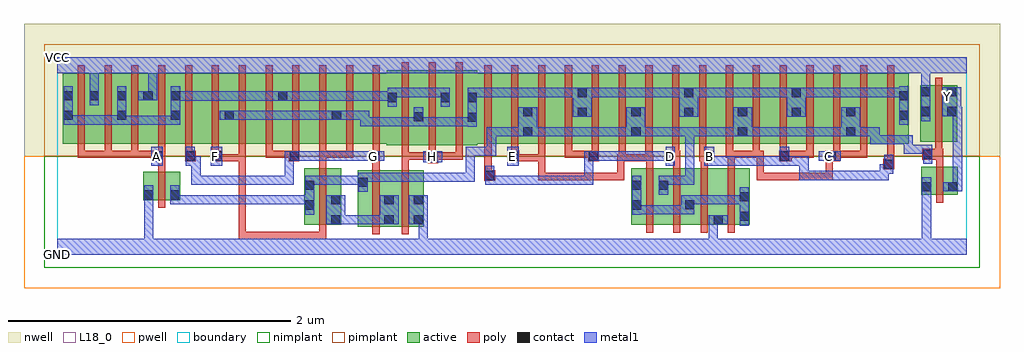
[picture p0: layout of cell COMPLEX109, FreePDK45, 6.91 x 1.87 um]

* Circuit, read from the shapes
.subckt COMPLEX109 A B C D E F G GND H VCC Y
M1 n1 A GND VSUBS nfet w=0.2u l=0.05u
M2 n2 F n1 VSUBS nfet w=0.4u l=0.05u
M3 n2 G n1 VSUBS nfet w=0.4u l=0.05u
M4 GND H n2 VSUBS nfet w=0.4u l=0.05u
M5 n1 E n3 VSUBS nfet w=0.4u l=0.05u
M6 n3 D n1 VSUBS nfet w=0.4u l=0.05u
M7 GND B n3 VSUBS nfet w=0.4u l=0.05u
M8 n3 C GND VSUBS nfet w=0.4u l=0.05u
M9 Y n1 GND VSUBS nfet w=0.2u l=0.05u
M10 VCC A n4 n5 pfet w=0.5u l=0.05u m=4
M11 n6 G n4 n5 pfet w=0.5u l=0.05u
M12 n7 F n6 n5 pfet w=0.5u l=0.05u
M13 n8 F n7 n5 pfet w=0.5u l=0.05u
M14 n4 G n8 n5 pfet w=0.5u l=0.05u
M15 n9 G n4 n5 pfet w=0.5u l=0.05u
M16 n7 F n9 n5 pfet w=0.5u l=0.05u
M17 n10 F n7 n5 pfet w=0.5u l=0.05u
M18 n4 G n10 n5 pfet w=0.5u l=0.05u
M19 n7 H n4 n5 pfet w=0.532u l=0.05u m=3
M20 n11 D n7 n5 pfet w=0.5u l=0.05u
M21 n1 E n11 n5 pfet w=0.5u l=0.05u
M22 n12 E n1 n5 pfet w=0.5u l=0.05u
M23 n7 D n12 n5 pfet w=0.5u l=0.05u
M24 n13 D n7 n5 pfet w=0.5u l=0.05u
M25 n1 E n13 n5 pfet w=0.5u l=0.05u
M26 n14 E n1 n5 pfet w=0.5u l=0.05u
M27 n7 D n14 n5 pfet w=0.5u l=0.05u
M28 n15 B n7 n5 pfet w=0.5u l=0.05u
M29 n1 C n15 n5 pfet w=0.5u l=0.05u
M30 n16 C n1 n5 pfet w=0.5u l=0.05u
M31 n7 B n16 n5 pfet w=0.5u l=0.05u
M32 n17 B n7 n5 pfet w=0.5u l=0.05u
M33 n1 C n17 n5 pfet w=0.5u l=0.05u
M34 n18 C n1 n5 pfet w=0.5u l=0.05u
M35 n7 B n18 n5 pfet w=0.5u l=0.05u
M36 Y n1 VCC n5 pfet w=0.4u l=0.05u
.ends

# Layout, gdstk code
import gdstk
lib = gdstk.Library(unit=1e-6, precision=1e-09)
def R(c, l, rs):  # rectangles x0, y0, x1, y1
    for r in rs: c.add(gdstk.rectangle(r[:2], r[2:], *l))
def A(c, l, x, y, w, h, nx, ny, dx, dy):  # array of equal rectangles
    R(c, l, [(x+i*dx, y+j*dy, x+i*dx+w, y+j*dy+h) for i in range(nx) for j in range(ny)])
active = (1, 0)
pwell = (2, 0)
nwell = (3, 0)
nimplant = (4, 0)
pimplant = (5, 0)
poly = (9, 0)
contact = (10, 0)
metal1 = (11, 0)
L18_0 = (18, 0)
boundary = (235, 0)

complex109 = lib.new_cell('COMPLEX109')
A(complex109, active, 0.8, 0.787, 0.225, 0.5, 4, 1, 0.38, 0)
A(complex109, active, 1.025, 0.787, 0.23, 0.5, 3, 1, 0.38, 0)
A(complex109, active, 4.285, 0.787, 0.225, 0.5, 3, 1, 0.38, 0)
A(complex109, active, 4.435, 0.787, 0.23, 0.5, 3, 1, 0.38, 0)
R(complex109, active, [(2.127,0.2,2.387,0.6), (2.312,0.2,2.595,0.6), (2.312,0.2,2.387,0.492), (1.75,0.212,1.825,0.612), (1.75,0.212,2.01,0.612), (1.935,0.212,2.01,0.612), (2.52,0.212,2.595,0.492), (4.065,0.212,4.33,0.612), (4.255,0.212,4.515,0.612), (4.44,0.212,4.515,0.492), (4.44,0.212,4.717,0.612), (4.642,0.212,4.902,0.612), (4.642,0.212,4.717,0.492), (4.827,0.212,4.902,0.612), (4.065,0.232,4.14,0.612), (2.127,0.245,2.202,0.6), (4.255,0.245,4.33,0.53), (0.61,0.387,0.87,0.587), (0.61,0.387,0.685,0.587), (0.795,0.387,0.87,0.587), (6.117,0.425,6.377,0.625), (6.117,0.445,6.192,0.625), (6.302,0.445,6.377,0.625), (2.335,0.775,2.595,1.307), (2.52,0.775,2.785,1.307), (2.52,0.775,2.595,1.07), (2.71,0.775,2.975,1.307), (2.71,0.775,2.785,1.2), (0.04,0.787,0.115,1.2), (0.04,0.787,0.3,1.287), (0.225,0.787,0.495,1.287), (0.42,0.787,0.68,1.287), (0.605,0.787,0.875,1.287), (2.165,0.787,2.41,1.287), (2.9,0.787,2.975,1.2), (2.9,0.787,3.145,1.287), (3.145,0.787,3.37,1.287), (3.295,0.787,3.37,1.07), (3.295,0.787,3.525,1.287), (3.525,0.787,3.755,1.287), (3.68,0.787,3.755,1.2), (3.68,0.787,3.905,1.287), (3.905,0.787,4.135,1.287), (4.06,0.787,4.285,1.287), (4.06,0.787,4.135,1.07), (4.815,0.787,4.89,1.07), (5.195,0.787,5.27,1.2), (5.425,0.787,5.655,1.287), (5.58,0.787,5.805,1.287), (5.58,0.787,5.655,1.07), (5.805,0.787,6.03,1.287), (5.955,0.787,6.03,1.2), (6.112,0.8,6.187,1.2), (6.112,0.8,6.372,1.2), (6.297,0.8,6.372,1.2), (2.335,0.802,2.41,1.2), (0.225,0.807,0.3,1.255), (0.42,0.807,0.495,1.2), (0.605,0.807,0.68,1.255), (0.8,0.807,0.875,1.2), (1.18,0.807,1.255,1.07), (1.56,0.807,1.635,1.2), (1.94,0.807,2.015,1.07), (4.435,0.807,4.51,1.2)])
R(complex109, pwell, [(-0.235,-0.235,6.675,0.7)])
R(complex109, nwell, [(-0.235,0.7,6.675,1.635)])
R(complex109, nimplant, [(-0.09,-0.09,6.53,0.7)])
R(complex109, pimplant, [(-0.09,0.7,6.53,1.49)])
A(complex109, poly, 2.44, 0.675, 0.05, 0.095, 3, 1, 0.19, 0)
A(complex109, poly, 0.145, 0.687, 0.05, 0.095, 6, 1, 0.19, 0)
A(complex109, poly, 0.145, 0.687, 0.05, 0.05, 3, 1, 0.19, 0)
A(complex109, poly, 1.475, 0.687, 0.05, 0.095, 5, 1, 0.19, 0)
A(complex109, poly, 4.355, 0.687, 0.05, 0.095, 8, 1, 0.19, 0)
A(complex109, poly, 2.44, 0.72, 0.05, 0.642, 3, 1, 0.19, 0)
A(complex109, poly, 0.145, 0.732, 0.05, 0.61, 12, 1, 0.19, 0)
A(complex109, poly, 3.025, 0.732, 0.05, 0.61, 16, 1, 0.19, 0)
R(complex109, poly, [(1.285,0.112,1.335,0.162), (1.285,0.112,1.467,0.162), (1.285,0.112,1.335,0.712), (1.417,0.112,1.467,0.162), (1.417,0.112,1.467,0.162), (1.417,0.112,1.467,0.162), (1.417,0.112,1.467,0.162), (1.417,0.112,1.467,0.162), (1.417,0.112,1.772,0.162), (1.722,0.112,1.772,0.162), (1.722,0.112,1.772,0.162), (1.722,0.112,1.772,0.162), (1.722,0.112,1.905,0.162), (1.855,0.112,1.905,0.207), (1.855,0.112,1.905,0.162), (1.855,0.112,1.905,0.162), (1.855,0.112,1.905,0.162), (2.232,0.145,2.282,0.655), (2.44,0.145,2.49,0.655), (1.855,0.157,1.905,0.667), (4.17,0.157,4.22,0.667), (4.36,0.157,4.41,0.667), (4.557,0.157,4.607,0.667), (4.747,0.157,4.797,0.667), (0.715,0.332,0.765,0.642), (6.222,0.37,6.272,0.68), (3.025,0.525,3.1,0.6), (3.405,0.53,3.455,0.58), (3.405,0.53,3.455,0.58), (3.405,0.53,3.455,0.58), (3.405,0.53,3.455,0.58), (3.405,0.53,3.455,0.58), (3.405,0.53,3.455,0.712), (3.405,0.53,3.677,0.58), (3.627,0.53,3.677,0.58), (3.627,0.53,3.677,0.58), (3.627,0.53,3.677,0.58), (3.627,0.53,3.882,0.58), (3.832,0.53,3.882,0.58), (3.832,0.53,4.015,0.58), (3.965,0.53,4.015,0.58), (3.965,0.53,4.015,0.58), (3.965,0.53,4.015,0.58), (3.965,0.53,4.015,0.712), (4.952,0.53,5.002,0.58), (4.952,0.53,5.002,0.58), (4.952,0.53,5.002,0.58), (4.952,0.53,5.135,0.58), (4.952,0.53,5.002,0.737), (5.085,0.53,5.135,0.58), (5.085,0.53,5.36,0.58), (5.31,0.53,5.36,0.58), (5.31,0.53,5.36,0.58), (5.31,0.53,5.36,0.58), (5.31,0.53,5.492,0.58), (5.442,0.53,5.492,0.58), (5.442,0.53,5.492,0.58), (5.442,0.53,5.492,0.58), (5.442,0.53,5.492,0.58), (5.442,0.53,5.492,0.58), (5.442,0.53,5.492,0.712), (3.025,0.55,3.075,0.6), (3.025,0.55,3.075,0.6), (3.025,0.55,3.075,0.6), (3.025,0.55,3.075,0.6), (3.025,0.55,3.075,0.782), (0.715,0.592,0.765,0.712), (2.232,0.605,2.282,0.712), (2.44,0.605,2.49,0.725), (5.85,0.605,5.925,0.68), (1.855,0.617,1.905,0.737), (4.17,0.617,4.22,0.712), (4.36,0.617,4.41,0.712), (4.557,0.617,4.607,0.712), (4.747,0.617,4.797,0.737), (5.875,0.63,5.925,0.782), (6.222,0.63,6.272,0.725), (2.622,0.65,2.697,0.725), (0.677,0.662,0.765,0.737), (0.905,0.662,0.98,0.737), (1.095,0.662,1.17,0.737), (1.12,0.662,1.335,0.712), (1.285,0.662,1.335,0.712), (1.285,0.662,1.335,0.712), (1.285,0.662,1.335,0.712), (1.285,0.662,1.335,0.712), (1.285,0.662,1.335,0.712), (1.285,0.662,1.335,0.712), (1.285,0.662,1.335,0.712), (1.285,0.662,1.335,0.712), (1.285,0.662,1.335,0.712), (1.285,0.662,1.335,0.782), (1.64,0.662,1.715,0.737), (2.21,0.662,2.285,0.737), (3.197,0.662,3.272,0.737), (3.222,0.662,3.272,0.712), (3.222,0.662,3.272,0.712), (3.222,0.662,3.455,0.712), (3.405,0.662,3.455,0.712), (3.405,0.662,3.455,0.782), (3.76,0.662,3.835,0.737), (3.965,0.662,4.015,0.712), (3.965,0.662,4.015,0.712), (3.965,0.662,4.025,0.712), (3.975,0.662,4.215,0.712), (3.975,0.662,4.025,0.782), (4.165,0.662,4.215,0.712), (4.165,0.662,4.215,0.712), (4.165,0.662,4.215,0.782), (4.165,0.662,4.22,0.712), (4.302,0.662,4.41,0.737), (4.545,0.662,4.652,0.737), (5.112,0.662,5.2,0.737), (5.442,0.662,5.545,0.737), (2.44,0.675,2.49,0.725), (2.44,0.675,2.672,0.725), (2.622,0.675,2.672,0.725), (2.622,0.675,2.672,0.725), (2.647,0.675,2.87,0.725), (2.82,0.675,2.87,0.725), (2.82,0.675,2.87,0.725), (2.82,0.675,2.87,0.725), (6.125,0.675,6.272,0.75), (0.145,0.687,0.195,0.737), (0.145,0.687,0.195,0.737), (0.145,0.687,0.385,0.737), (0.335,0.687,0.575,0.737), (0.525,0.687,0.575,0.737), (0.525,0.687,0.575,0.737), (0.525,0.687,0.727,0.737), (0.677,0.687,0.727,0.737), (0.677,0.687,0.727,0.737), (1.475,0.687,1.525,0.737), (1.475,0.687,1.6,0.737), (1.55,0.687,1.6,0.737), (1.55,0.687,1.69,0.737), (1.855,0.687,1.905,0.737), (1.855,0.687,2.095,0.737), (2.045,0.687,2.095,0.737), (2.045,0.687,2.095,0.737), (2.045,0.687,2.095,0.737), (3.215,0.687,3.265,0.782), (3.595,0.687,3.645,0.782), (3.595,0.687,3.645,0.737), (3.595,0.687,3.645,0.737), (3.595,0.687,3.645,0.737), (3.595,0.687,3.81,0.737), (3.785,0.687,3.835,0.782), (4.735,0.687,4.797,0.737), (4.747,0.687,4.797,0.737), (4.747,0.687,4.797,0.737), (4.747,0.687,4.975,0.737), (4.925,0.687,4.995,0.737), (4.945,0.687,4.995,0.737), (4.945,0.687,5.002,0.737), (5.15,0.687,5.2,0.737), (5.15,0.687,5.2,0.737), (5.15,0.687,5.355,0.737), (5.305,0.687,5.355,0.737), (5.495,0.687,5.735,0.737), (5.685,0.687,5.735,0.737), (5.685,0.687,5.735,0.737), (5.685,0.687,5.735,0.737), (6.217,0.7,6.267,0.795), (6.217,0.745,6.267,1.255)])
A(complex109, contact, 0.045, 0.955, 0.065, 0.065, 4, 1, 0.38, 0)
R(complex109, contact, [(1.94,0.217,2.005,0.282), (2.317,0.217,2.382,0.282), (2.525,0.217,2.59,0.282), (4.647,0.217,4.712,0.282), (4.832,0.24,4.897,0.305), (1.755,0.32,1.82,0.385), (4.07,0.32,4.135,0.385), (4.445,0.322,4.51,0.387), (1.94,0.357,2.005,0.422), (2.317,0.357,2.382,0.422), (2.525,0.357,2.59,0.422), (4.832,0.38,4.897,0.445), (0.615,0.392,0.68,0.457), (0.8,0.392,0.865,0.457), (6.122,0.45,6.187,0.515), (6.307,0.45,6.372,0.515), (1.755,0.46,1.82,0.525), (4.07,0.46,4.135,0.525), (4.26,0.46,4.325,0.525), (2.132,0.482,2.197,0.547), (3.03,0.53,3.095,0.595), (5.855,0.61,5.92,0.675), (2.627,0.655,2.692,0.72), (0.682,0.667,0.747,0.732), (0.91,0.667,0.975,0.732), (1.1,0.667,1.165,0.732), (1.645,0.667,1.71,0.732), (2.215,0.667,2.28,0.732), (3.202,0.667,3.267,0.732), (3.765,0.667,3.83,0.732), (4.307,0.667,4.372,0.732), (4.582,0.667,4.647,0.732), (5.117,0.667,5.182,0.732), (5.447,0.667,5.512,0.732), (6.13,0.68,6.195,0.745), (3.3,0.84,3.365,0.905), (4.065,0.84,4.13,0.905), (4.82,0.84,4.885,0.905), (5.585,0.84,5.65,0.905), (2.905,0.942,2.97,1.007), (2.525,0.945,2.59,1.01), (1.945,0.955,2.01,1.02), (5.96,0.955,6.025,1.02), (3.685,0.977,3.75,1.042), (4.44,0.977,4.505,1.042), (5.2,0.977,5.265,1.042), (3.3,0.98,3.365,1.045), (4.065,0.98,4.13,1.045), (4.82,0.98,4.885,1.045), (5.585,0.98,5.65,1.045), (6.117,0.982,6.182,1.047), (6.302,0.982,6.367,1.047), (2.34,1.082,2.405,1.147), (2.715,1.082,2.78,1.147), (2.905,1.082,2.97,1.147), (1.565,1.092,1.63,1.157), (0.045,1.095,0.11,1.16), (0.23,1.095,0.295,1.16), (0.425,1.095,0.49,1.16), (0.61,1.095,0.675,1.16), (0.805,1.095,0.87,1.16), (5.96,1.095,6.025,1.16), (3.685,1.117,3.75,1.182), (4.44,1.117,4.505,1.182), (5.2,1.117,5.265,1.182), (6.117,1.122,6.182,1.187), (6.302,1.122,6.367,1.187)])
A(complex109, metal1, 0.045, 0.92, 0.065, 0.275, 3, 1, 0.38, 0)
R(complex109, metal1, [(0,0,6.44,0.115), (0.615,0.05,0.68,0.115), (0.615,0.05,0.68,0.115), (0.615,0.05,0.68,0.115), (0.615,0.05,0.68,0.115), (0.615,0.05,0.68,0.115), (0.615,0.05,0.68,0.115), (0.615,0.05,0.68,0.422), (2.56,0.05,2.625,0.115), (2.56,0.05,2.625,0.115), (2.56,0.05,2.625,0.282), (4.612,0.05,4.677,0.115), (4.612,0.05,4.677,0.115), (4.612,0.05,4.677,0.282), (6.122,0.05,6.187,0.115), (6.122,0.05,6.187,0.115), (6.122,0.05,6.187,0.115), (6.122,0.05,6.187,0.115), (6.122,0.05,6.187,0.115), (6.122,0.05,6.187,0.115), (6.122,0.05,6.187,0.48), (4.832,0.205,4.897,0.48), (1.905,0.217,2.04,0.422), (1.975,0.217,2.05,0.282), (1.985,0.217,2.05,0.282), (1.985,0.217,2.21,0.282), (2.145,0.217,2.21,0.282), (2.145,0.217,2.21,0.282), (2.145,0.217,2.21,0.282), (2.145,0.217,2.347,0.282), (2.282,0.217,2.417,0.422), (2.49,0.217,2.625,0.422), (4.612,0.217,4.747,0.282), (1.755,0.285,1.82,0.56), (4.07,0.285,4.135,0.56), (4.07,0.287,4.165,0.352), (4.1,0.287,4.165,0.352), (4.1,0.287,4.332,0.352), (4.267,0.287,4.332,0.352), (4.267,0.287,4.332,0.352), (4.267,0.287,4.332,0.352), (4.267,0.287,4.485,0.352), (4.42,0.287,4.51,0.422), (0.615,0.357,0.68,0.492), (0.8,0.357,0.865,0.422), (0.8,0.357,0.865,0.422), (0.8,0.357,0.865,0.492), (0.8,0.357,1.077,0.422), (1.012,0.357,1.077,0.422), (1.012,0.357,1.145,0.422), (1.08,0.357,1.145,0.422), (1.08,0.357,1.282,0.422), (1.217,0.357,1.282,0.422), (1.217,0.357,1.282,0.422), (1.217,0.357,1.282,0.422), (1.217,0.357,1.457,0.422), (1.392,0.357,1.457,0.422), (1.392,0.357,1.457,0.422), (1.392,0.357,1.457,0.422), (1.392,0.357,1.595,0.422), (1.53,0.357,1.595,0.422), (1.53,0.357,1.595,0.422), (1.53,0.357,1.595,0.422), (1.53,0.357,1.82,0.422), (4.445,0.357,4.677,0.422), (4.612,0.357,4.677,0.422), (4.612,0.357,4.677,0.422), (4.612,0.357,4.677,0.422), (4.612,0.357,4.897,0.422), (4.832,0.357,4.897,0.422), (4.832,0.357,4.897,0.422), (6.122,0.415,6.187,0.55), (4.26,0.425,4.325,0.56), (2.132,0.447,2.197,0.582), (6.272,0.45,6.407,0.515), (6.342,0.45,6.407,0.515), (6.342,0.45,6.407,0.515), (6.342,0.45,6.407,1.047), (0.95,0.495,1.015,0.56), (0.95,0.495,1.145,0.56), (0.95,0.495,1.015,0.697), (1.08,0.495,1.145,0.56), (1.08,0.495,1.282,0.56), (1.217,0.495,1.282,0.56), (1.217,0.495,1.282,0.56), (1.217,0.495,1.282,0.56), (1.217,0.495,1.457,0.56), (1.392,0.495,1.457,0.56), (1.392,0.495,1.457,0.56), (1.392,0.495,1.457,0.56), (1.392,0.495,1.675,0.56), (1.61,0.495,1.675,0.56), (1.61,0.495,1.675,0.732), (1.755,0.495,1.912,0.56), (1.847,0.495,1.912,0.56), (1.847,0.495,2.05,0.56), (1.985,0.495,2.05,0.56), (1.985,0.495,2.05,0.56), (1.985,0.495,2.05,0.56), (1.985,0.495,2.197,0.56), (3.03,0.495,3.095,0.63), (3.03,0.495,3.125,0.56), (3.06,0.495,3.125,0.56), (3.06,0.495,3.262,0.56), (3.197,0.495,3.262,0.56), (3.197,0.495,3.262,0.56), (3.197,0.495,3.262,0.56), (3.197,0.495,3.4,0.56), (3.335,0.495,3.4,0.56), (3.335,0.495,3.577,0.56), (3.512,0.495,3.577,0.56), (3.512,0.495,3.577,0.56), (3.512,0.495,3.577,0.56), (3.512,0.495,3.795,0.56), (3.73,0.495,3.795,0.56), (3.73,0.495,3.795,0.732), (4.26,0.495,4.325,0.56), (4.26,0.495,4.325,0.56), (4.26,0.495,4.51,0.56), (4.445,0.495,4.51,0.56), (4.445,0.495,4.51,0.905), (2.132,0.517,2.197,0.582), (2.132,0.517,2.197,0.582), (2.132,0.517,2.347,0.582), (2.282,0.517,2.347,0.582), (2.282,0.517,2.347,0.582), (2.282,0.517,2.347,0.582), (2.282,0.517,2.642,0.582), (2.577,0.517,2.642,0.582), (2.577,0.517,2.642,0.582), (2.577,0.517,2.642,0.582), (2.577,0.517,2.82,0.582), (2.755,0.517,2.82,0.582), (2.755,0.517,2.82,0.582), (2.755,0.517,2.82,0.582), (2.755,0.517,2.957,0.582), (2.892,0.517,2.957,0.582), (2.892,0.517,2.957,0.582), (2.892,0.517,2.957,0.582), (2.892,0.517,2.957,0.767), (5.255,0.53,5.32,0.595), (5.255,0.53,5.32,0.595), (5.255,0.53,5.32,0.595), (5.255,0.53,5.457,0.595), (5.255,0.53,5.32,0.697), (5.392,0.53,5.457,0.595), (5.392,0.53,5.547,0.595), (5.482,0.53,5.547,0.595), (5.482,0.53,5.685,0.595), (5.62,0.53,5.685,0.595), (5.62,0.53,5.685,0.595), (5.62,0.53,5.685,0.595), (5.62,0.53,5.887,0.595), (5.822,0.53,5.887,0.595), (5.822,0.53,5.887,0.64), (5.822,0.575,5.887,0.64), (5.822,0.575,5.92,0.64), (5.855,0.575,5.92,0.71), (0.667,0.632,0.747,0.767), (0.91,0.632,0.975,0.767), (0.91,0.632,1.015,0.697), (0.95,0.632,1.015,0.697), (1.087,0.632,1.167,0.767), (3.187,0.632,3.267,0.767), (4.307,0.632,4.372,0.767), (4.582,0.632,4.652,0.767), (4.587,0.632,4.677,0.697), (4.612,0.632,4.677,0.697), (4.612,0.632,4.897,0.697), (4.832,0.632,4.897,0.697), (4.832,0.632,4.897,0.697), (4.832,0.632,4.897,0.697), (4.832,0.632,5.035,0.697), (4.97,0.632,5.035,0.697), (4.97,0.632,5.057,0.697), (4.992,0.632,5.057,0.697), (4.992,0.632,5.182,0.697), (5.117,0.632,5.32,0.697), (5.117,0.632,5.182,0.767), (5.255,0.632,5.32,0.697), (6.13,0.645,6.195,0.78), (2.592,0.655,2.727,0.732), (1.61,0.667,1.675,0.732), (1.61,0.667,1.675,0.732), (1.61,0.667,1.745,0.732), (1.68,0.667,1.812,0.732), (1.747,0.667,1.812,0.732), (1.747,0.667,1.882,0.732), (1.817,0.667,1.882,0.732), (1.817,0.667,2.05,0.732), (1.985,0.667,2.05,0.732), (1.985,0.667,2.05,0.732), (1.985,0.667,2.05,0.732), (1.985,0.667,2.21,0.732), (2.145,0.667,2.21,0.732), (2.145,0.667,2.237,0.732), (2.172,0.667,2.315,0.732), (3.73,0.667,3.795,0.732), (3.73,0.667,3.795,0.732), (3.73,0.667,3.795,0.732), (3.73,0.667,3.795,0.732), (3.73,0.667,3.865,0.732), (3.8,0.667,3.957,0.732), (3.892,0.667,3.957,0.732), (3.892,0.667,4.027,0.732), (3.962,0.667,4.027,0.732), (3.962,0.667,4.187,0.732), (4.122,0.667,4.187,0.732), (4.122,0.667,4.187,0.732), (4.122,0.667,4.187,0.732), (4.122,0.667,4.325,0.732), (4.26,0.667,4.325,0.732), (4.26,0.667,4.372,0.732), (5.392,0.667,5.547,0.732), (2.892,0.702,2.957,0.767), (2.892,0.702,3.107,0.767), (3.042,0.702,3.107,0.767), (3.042,0.702,3.107,0.767), (3.042,0.702,3.107,0.767), (3.042,0.702,3.107,0.905), (5.992,0.715,6.057,0.78), (5.992,0.715,6.057,0.78), (5.992,0.715,6.057,0.78), (5.992,0.715,6.195,0.78), (5.992,0.715,6.057,0.847), (5.757,0.782,5.822,0.847), (5.757,0.782,5.822,0.847), (5.757,0.782,6.057,0.847), (5.757,0.782,5.822,0.905), (5.992,0.782,6.057,0.847), (3.042,0.84,3.107,0.905), (3.042,0.84,3.262,0.905), (3.197,0.84,3.262,0.905), (3.197,0.84,3.33,0.905), (3.265,0.84,3.4,1.045), (3.335,0.84,3.4,0.905), (3.335,0.84,3.4,0.905), (3.335,0.84,3.577,0.905), (3.512,0.84,3.577,0.905), (3.512,0.84,3.577,0.905), (3.512,0.84,3.577,0.905), (3.512,0.84,3.82,0.905), (3.755,0.84,3.82,0.905), (3.755,0.84,3.82,0.905), (3.755,0.84,3.82,0.905), (3.755,0.84,3.957,0.905), (3.892,0.84,3.957,0.905), (3.892,0.84,4.027,0.905), (3.962,0.84,4.027,0.905), (3.962,0.84,4.095,0.905), (4.03,0.84,4.165,1.045), (4.1,0.84,4.165,0.905), (4.1,0.84,4.165,0.905), (4.1,0.84,4.332,0.905), (4.267,0.84,4.332,0.905), (4.267,0.84,4.332,0.905), (4.267,0.84,4.332,0.905), (4.267,0.84,4.51,0.905), (4.445,0.84,4.51,0.905), (4.445,0.84,4.51,0.905), (4.445,0.84,4.51,0.905), (4.445,0.84,4.677,0.905), (4.612,0.84,4.677,0.905), (4.612,0.84,4.677,0.905), (4.612,0.84,4.677,0.905), (4.612,0.84,4.85,0.905), (4.785,0.84,4.85,0.905), (4.785,0.84,4.85,0.905), (4.785,0.84,4.92,1.045), (4.855,0.84,5.035,0.905), (4.97,0.84,5.035,0.905), (4.97,0.84,5.057,0.905), (4.992,0.84,5.057,0.905), (4.992,0.84,5.172,0.905), (5.107,0.84,5.172,0.905), (5.107,0.84,5.195,0.905), (5.13,0.84,5.195,0.905), (5.13,0.84,5.32,0.905), (5.255,0.84,5.32,0.905), (5.255,0.84,5.457,0.905), (5.392,0.84,5.457,0.905), (5.392,0.84,5.457,0.905), (5.392,0.84,5.457,0.905), (5.392,0.84,5.615,0.905), (5.55,0.84,5.685,1.045), (5.62,0.84,5.685,0.905), (5.62,0.84,5.685,0.905), (5.62,0.84,5.822,0.905), (2.905,0.907,2.97,1.182), (2.145,0.91,2.21,0.975), (2.145,0.91,2.21,0.975), (2.145,0.91,2.21,1.02), (2.145,0.91,2.417,0.975), (2.352,0.91,2.417,0.975), (2.352,0.91,2.417,0.975), (2.352,0.91,2.417,0.975), (2.352,0.91,2.59,0.975), (2.525,0.91,2.59,1.045), (2.525,0.91,2.642,0.975), (2.577,0.91,2.642,0.975), (2.577,0.91,2.78,0.975), (2.715,0.91,2.78,0.975), (2.715,0.91,2.78,0.975), (2.715,0.91,2.78,0.975), (2.715,0.91,2.97,0.975), (0.425,0.92,0.49,0.985), (0.425,0.92,0.49,0.985), (0.425,0.92,0.727,0.985), (0.662,0.92,0.727,0.985), (0.662,0.92,0.727,0.985), (0.662,0.92,0.727,0.985), (0.662,0.92,0.87,0.985), (5.96,0.92,6.025,1.195), (0.045,0.922,0.11,0.987), (0.045,0.922,0.11,0.987), (0.045,0.922,0.352,0.987), (0.287,0.922,0.352,0.987), (0.287,0.922,0.352,0.987), (0.287,0.922,0.352,0.987), (0.287,0.922,0.49,0.987), (6.117,0.947,6.182,1.222), (1.15,0.955,1.285,1.02), (1.22,0.955,1.285,1.02), (1.22,0.955,1.285,1.02), (1.22,0.955,1.457,1.02), (1.392,0.955,1.457,1.02), (1.392,0.955,1.457,1.02), (1.392,0.955,1.457,1.02), (1.392,0.955,1.595,1.02), (1.53,0.955,1.595,1.02), (1.53,0.955,1.595,1.02), (1.53,0.955,1.595,1.02), (1.53,0.955,1.812,1.02), (1.747,0.955,1.812,1.02), (1.747,0.955,1.912,1.02), (1.847,0.955,1.912,1.02), (1.847,0.955,1.975,1.02), (1.91,0.955,2.045,1.02), (1.98,0.955,2.05,1.02), (1.985,0.955,2.05,1.02), (1.985,0.955,2.21,1.02), (3.65,0.977,3.785,1.182), (4.405,0.977,4.54,1.182), (5.165,0.977,5.3,1.182), (6.267,0.982,6.402,1.187), (6.337,0.982,6.402,1.047), (6.337,0.982,6.407,1.047), (6.342,0.982,6.407,1.047), (6.342,0.982,6.407,1.047), (2.34,1.047,2.405,1.182), (2.715,1.047,2.78,1.182), (0.23,1.06,0.295,1.195), (0.805,1.092,1.007,1.157), (0.942,1.092,1.007,1.157), (0.942,1.092,1.007,1.157), (0.942,1.092,1.007,1.157), (0.942,1.092,1.145,1.157), (1.08,1.092,1.145,1.157), (1.08,1.092,1.285,1.157), (1.22,1.092,1.285,1.157), (1.22,1.092,1.285,1.157), (1.22,1.092,1.285,1.157), (1.22,1.092,1.422,1.157), (1.357,1.092,1.422,1.157), (1.357,1.092,1.422,1.157), (1.357,1.092,1.422,1.157), (1.357,1.092,1.595,1.157), (1.53,1.092,1.665,1.157), (1.6,1.092,1.665,1.157), (1.6,1.092,1.665,1.157), (1.6,1.092,1.812,1.157), (1.747,1.092,1.812,1.157), (1.747,1.092,1.882,1.157), (1.817,1.092,1.882,1.157), (1.817,1.092,2.05,1.157), (1.985,1.092,2.05,1.157), (1.985,1.092,2.05,1.157), (1.985,1.092,2.05,1.157), (1.985,1.092,2.187,1.157), (2.122,1.092,2.187,1.157), (2.122,1.092,2.187,1.157), (2.122,1.092,2.187,1.157), (2.122,1.092,2.405,1.157), (0.575,1.095,0.71,1.16), (0.645,1.095,0.71,1.35), (2.34,1.117,2.405,1.182), (2.34,1.117,2.405,1.182), (2.34,1.117,2.642,1.182), (2.577,1.117,2.642,1.182), (2.577,1.117,2.642,1.182), (2.577,1.117,2.642,1.182), (2.577,1.117,2.78,1.182), (2.905,1.117,2.97,1.182), (2.905,1.117,2.97,1.182), (2.905,1.117,3.095,1.182), (3.03,1.117,3.095,1.182), (3.03,1.117,3.107,1.182), (3.042,1.117,3.107,1.182), (3.042,1.117,3.262,1.182), (3.197,1.117,3.262,1.182), (3.197,1.117,3.262,1.182), (3.197,1.117,3.262,1.182), (3.197,1.117,3.4,1.182), (3.335,1.117,3.4,1.182), (3.335,1.117,3.577,1.182), (3.512,1.117,3.577,1.182), (3.512,1.117,3.577,1.182), (3.512,1.117,3.577,1.182), (3.512,1.117,3.715,1.182), (3.72,1.117,3.785,1.182), (3.72,1.117,3.785,1.182), (3.72,1.117,3.957,1.182), (3.892,1.117,3.957,1.182), (3.892,1.117,4.027,1.182), (3.962,1.117,4.027,1.182), (3.962,1.117,4.187,1.182), (4.122,1.117,4.187,1.182), (4.122,1.117,4.187,1.182), (4.122,1.117,4.187,1.182), (4.122,1.117,4.332,1.182), (4.267,1.117,4.332,1.182), (4.267,1.117,4.332,1.182), (4.267,1.117,4.332,1.182), (4.267,1.117,4.47,1.182), (4.475,1.117,4.677,1.182), (4.612,1.117,4.677,1.182), (4.612,1.117,4.677,1.182), (4.612,1.117,4.677,1.182), (4.612,1.117,4.815,1.182), (4.75,1.117,4.815,1.182), (4.75,1.117,4.815,1.182), (4.75,1.117,4.815,1.182), (4.75,1.117,5.035,1.182), (4.97,1.117,5.035,1.182), (4.97,1.117,5.057,1.182), (4.992,1.117,5.057,1.182), (4.992,1.117,5.172,1.182), (5.107,1.117,5.172,1.182), (5.107,1.117,5.23,1.182), (5.235,1.117,5.32,1.182), (5.255,1.117,5.32,1.182), (5.255,1.117,5.457,1.182), (5.392,1.117,5.457,1.182), (5.392,1.117,5.547,1.182), (5.482,1.117,5.547,1.182), (5.482,1.117,5.685,1.182), (5.62,1.117,5.685,1.182), (5.62,1.117,5.685,1.182), (5.62,1.117,5.685,1.182), (5.62,1.117,5.887,1.182), (5.822,1.117,5.887,1.182), (5.822,1.117,5.887,1.182), (5.822,1.117,5.887,1.182), (5.822,1.117,6.025,1.182), (0.23,1.13,0.295,1.35), (6.117,1.157,6.182,1.35), (0,1.285,6.44,1.4)])
R(complex109, L18_0, [(0,0,6.44,0.115), (0.615,0.05,0.68,0.115), (0.615,0.05,0.68,0.115), (0.615,0.05,0.68,0.115), (0.615,0.05,0.68,0.115), (0.615,0.05,0.68,0.115), (0.615,0.05,0.68,0.115), (0.615,0.05,0.68,0.422), (2.56,0.05,2.625,0.115), (2.56,0.05,2.625,0.115), (2.56,0.05,2.625,0.282), (4.612,0.05,4.677,0.115), (4.612,0.05,4.677,0.115), (4.612,0.05,4.677,0.282), (6.122,0.05,6.187,0.115), (6.122,0.05,6.187,0.115), (6.122,0.05,6.187,0.115), (6.122,0.05,6.187,0.115), (6.122,0.05,6.187,0.115), (6.122,0.05,6.187,0.115), (6.122,0.05,6.187,0.48), (2.49,0.217,2.625,0.422), (4.612,0.217,4.747,0.282), (0.615,0.357,0.68,0.492), (6.122,0.415,6.187,0.55), (6.272,0.45,6.407,0.515), (6.342,0.45,6.407,0.515), (6.342,0.45,6.407,0.515), (6.342,0.45,6.407,1.047), (0.95,0.495,1.015,0.56), (0.95,0.495,1.015,0.697), (0.95,0.495,1.145,0.56), (1.08,0.495,1.145,0.56), (1.08,0.495,1.282,0.56), (1.217,0.495,1.282,0.56), (1.217,0.495,1.282,0.56), (1.217,0.495,1.282,0.56), (1.217,0.495,1.457,0.56), (1.392,0.495,1.457,0.56), (1.392,0.495,1.457,0.56), (1.392,0.495,1.457,0.56), (1.392,0.495,1.675,0.56), (1.61,0.495,1.675,0.56), (1.61,0.495,1.675,0.732), (3.03,0.495,3.095,0.63), (3.03,0.495,3.125,0.56), (3.06,0.495,3.125,0.56), (3.06,0.495,3.262,0.56), (3.197,0.495,3.262,0.56), (3.197,0.495,3.262,0.56), (3.197,0.495,3.262,0.56), (3.197,0.495,3.4,0.56), (3.335,0.495,3.4,0.56), (3.335,0.495,3.577,0.56), (3.512,0.495,3.577,0.56), (3.512,0.495,3.577,0.56), (3.512,0.495,3.577,0.56), (3.512,0.495,3.795,0.56), (3.73,0.495,3.795,0.56), (3.73,0.495,3.795,0.732), (5.255,0.53,5.32,0.595), (5.255,0.53,5.32,0.595), (5.255,0.53,5.32,0.595), (5.255,0.53,5.457,0.595), (5.255,0.53,5.32,0.697), (5.392,0.53,5.457,0.595), (5.392,0.53,5.547,0.595), (5.482,0.53,5.547,0.595), (5.482,0.53,5.685,0.595), (5.62,0.53,5.685,0.595), (5.62,0.53,5.685,0.595), (5.62,0.53,5.685,0.595), (5.62,0.53,5.887,0.595), (5.822,0.53,5.887,0.595), (5.822,0.53,5.887,0.64), (5.822,0.575,5.887,0.64), (5.822,0.575,5.92,0.64), (5.855,0.575,5.92,0.71), (0.667,0.632,0.747,0.767), (0.91,0.632,0.975,0.767), (0.91,0.632,1.015,0.697), (0.95,0.632,1.015,0.697), (1.087,0.632,1.167,0.767), (3.187,0.632,3.267,0.767), (4.307,0.632,4.372,0.767), (4.582,0.632,4.652,0.767), (4.587,0.632,4.677,0.697), (4.612,0.632,4.677,0.697), (4.612,0.632,4.897,0.697), (4.832,0.632,4.897,0.697), (4.832,0.632,4.897,0.697), (4.832,0.632,4.897,0.697), (4.832,0.632,5.035,0.697), (4.97,0.632,5.035,0.697), (4.97,0.632,5.057,0.697), (4.992,0.632,5.057,0.697), (4.992,0.632,5.182,0.697), (5.117,0.632,5.182,0.767), (5.117,0.632,5.32,0.697), (5.255,0.632,5.32,0.697), (2.592,0.655,2.727,0.732), (0.667,0.667,0.732,0.732), (1.087,0.667,1.152,0.732), (1.61,0.667,1.675,0.732), (1.61,0.667,1.675,0.732), (1.61,0.667,1.745,0.732), (1.68,0.667,1.812,0.732), (1.747,0.667,1.812,0.732), (1.747,0.667,1.882,0.732), (1.817,0.667,1.882,0.732), (1.817,0.667,2.05,0.732), (1.985,0.667,2.05,0.732), (1.985,0.667,2.05,0.732), (1.985,0.667,2.05,0.732), (1.985,0.667,2.21,0.732), (2.145,0.667,2.21,0.732), (2.145,0.667,2.237,0.732), (2.172,0.667,2.315,0.732), (2.207,0.667,2.272,0.732), (2.627,0.667,2.692,0.732), (3.187,0.667,3.252,0.732), (3.73,0.667,3.795,0.732), (3.73,0.667,3.795,0.732), (3.73,0.667,3.795,0.732), (3.73,0.667,3.795,0.732), (3.73,0.667,3.865,0.732), (3.8,0.667,3.957,0.732), (3.892,0.667,3.957,0.732), (3.892,0.667,4.027,0.732), (3.962,0.667,4.027,0.732), (3.962,0.667,4.187,0.732), (4.122,0.667,4.187,0.732), (4.122,0.667,4.187,0.732), (4.122,0.667,4.187,0.732), (4.122,0.667,4.325,0.732), (4.26,0.667,4.325,0.732), (4.26,0.667,4.372,0.732), (4.307,0.667,4.372,0.732), (4.587,0.667,4.652,0.732), (5.392,0.667,5.547,0.732), (5.427,0.667,5.492,0.732), (6.117,0.947,6.182,1.222), (6.267,0.982,6.402,1.187), (6.337,0.982,6.402,1.047), (6.337,0.982,6.407,1.047), (6.342,0.982,6.407,1.047), (6.342,0.982,6.407,1.047), (0.23,1.06,0.295,1.195), (6.267,1.087,6.332,1.152), (0.575,1.095,0.71,1.16), (0.645,1.095,0.71,1.35), (0.23,1.13,0.295,1.35), (6.117,1.157,6.182,1.35), (0,1.285,6.44,1.4)])
R(complex109, boundary, [(0,0,6.44,1.4)])
complex109.add(gdstk.Label('A', (0.7,0.7), layer=11, texttype=0))
complex109.add(gdstk.Label('B', (4.62,0.7), layer=11, texttype=0))
complex109.add(gdstk.Label('C', (5.46,0.7), layer=11, texttype=0))
complex109.add(gdstk.Label('D', (4.34,0.7), layer=11, texttype=0))
complex109.add(gdstk.Label('E', (3.22,0.7), layer=11, texttype=0))
complex109.add(gdstk.Label('F', (1.12,0.7), layer=11, texttype=0))
complex109.add(gdstk.Label('G', (2.24,0.7), layer=11, texttype=0))
complex109.add(gdstk.Label('H', (2.66,0.7), layer=11, texttype=0))
complex109.add(gdstk.Label('Y', (6.3,1.12), layer=11, texttype=0))
complex109.add(gdstk.Label('VCC', (0,1.4), layer=11, texttype=0))
complex109.add(gdstk.Label('GND', (0,0), layer=11, texttype=0))

lib.write_gds('COMPLEX109.gds')
